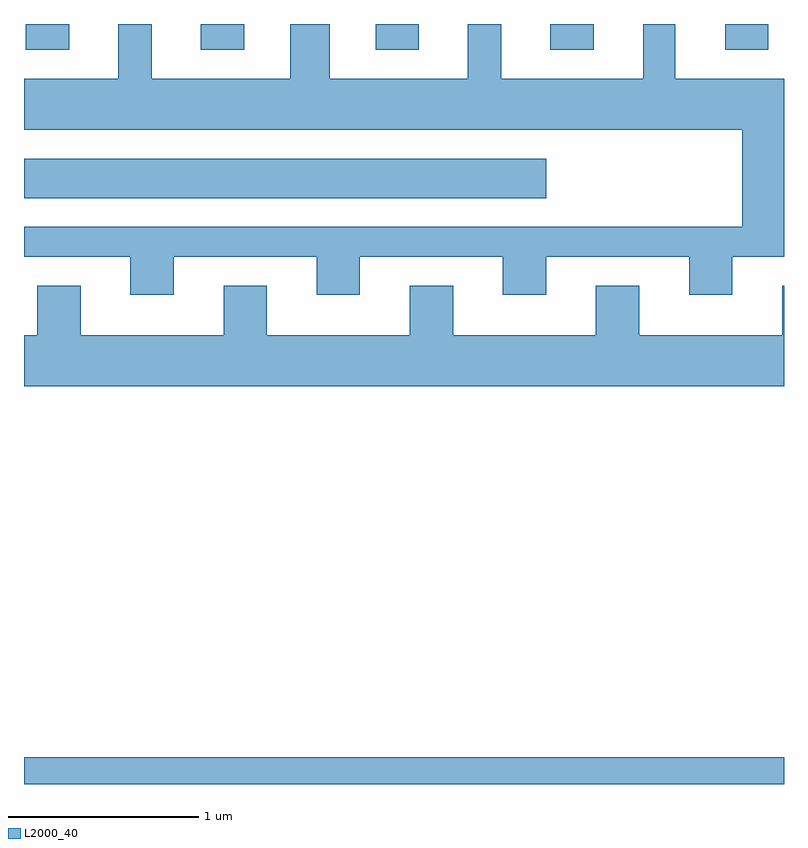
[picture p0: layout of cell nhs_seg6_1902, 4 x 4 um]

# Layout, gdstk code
import gdstk
lib = gdstk.Library(unit=1e-6, precision=1e-09)
def R(c, l, rs):  # rectangles x0, y0, x1, y1
    for r in rs: c.add(gdstk.rectangle(r[:2], r[2:], *l))
def A(c, l, x, y, w, h, nx, ny, dx, dy):  # array of equal rectangles
    R(c, l, [(x+i*dx, y+j*dy, x+i*dx+w, y+j*dy+h) for i in range(nx) for j in range(ny)])
def P(c, l, *ps):  # polygons
    for p in ps: c.add(gdstk.Polygon(p, *l))
L2000_40 = (2000, 40)

nhs_seg6_1902 = lib.new_cell('nhs_seg6_1902')
A(nhs_seg6_1902, L2000_40, 243.621, 1554.026, 0.228, 0.136, 5, 1, 0.92, 0)
R(nhs_seg6_1902, L2000_40, [(243.611,1550.162,247.611,1550.304), (243.611,1553.246,246.359,1553.454)])
P(nhs_seg6_1902, L2000_40, [(244.399,1552.936),(245.151,1552.936),(245.151,1552.736),(245.379,1552.736),(245.379,1552.936),(246.131,1552.936),(246.131,1552.736),(246.359,1552.736),(246.359,1552.936),(247.111,1552.936),(247.111,1552.736),(247.339,1552.736),(247.339,1552.936),(247.611,1552.936),(247.611,1553.874),(247.039,1553.874),(247.039,1554.162),(246.871,1554.162),(246.871,1553.874),(246.124,1553.874),(246.124,1554.162),(245.946,1554.162),(245.946,1553.874),(245.219,1553.874),(245.219,1554.162),(245.011,1554.162),(245.011,1553.874),(244.284,1553.874),(244.284,1554.162),(244.106,1554.162),(244.106,1553.874),(243.611,1553.874),(243.611,1553.606),(247.391,1553.606),(247.391,1553.094),(243.611,1553.094),(243.611,1552.936),(244.171,1552.936),(244.171,1552.736),(244.399,1552.736)],
  [(247.611,1552.784),(247.601,1552.784),(247.601,1552.524),(246.849,1552.524),(246.849,1552.784),(246.621,1552.784),(246.621,1552.524),(245.869,1552.524),(245.869,1552.784),(245.641,1552.784),(245.641,1552.524),(244.889,1552.524),(244.889,1552.784),(244.661,1552.784),(244.661,1552.524),(243.909,1552.524),(243.909,1552.784),(243.681,1552.784),(243.681,1552.524),(243.611,1552.524),(243.611,1552.256),(247.611,1552.256)])

lib.write_gds('nhs_seg6_1902.gds')
